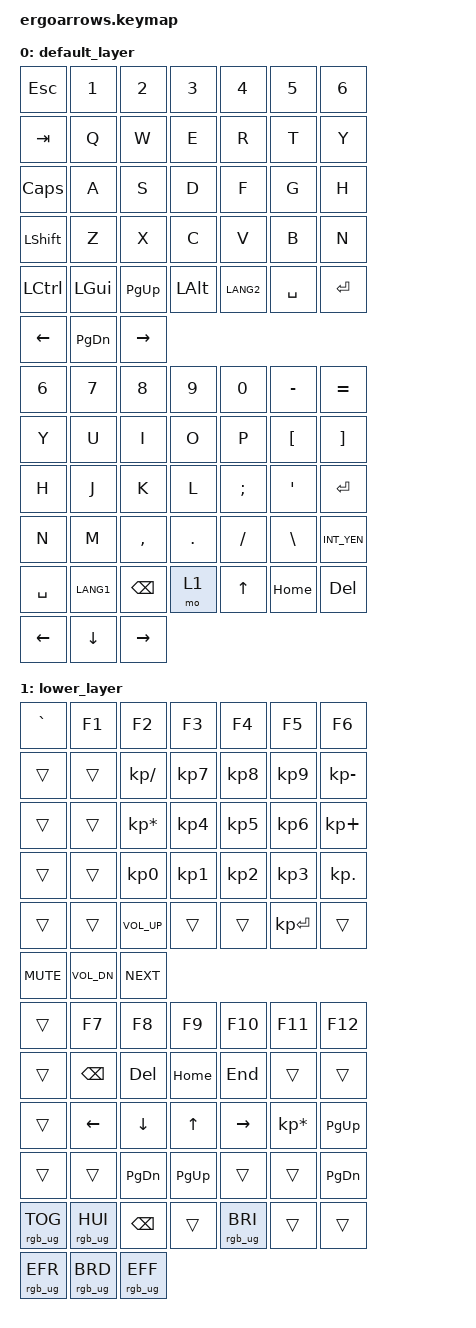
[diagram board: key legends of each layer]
/*
 * ErgoArrows Keymap
 * 76 keys (38 per side)
 * Left:  rows 0-5,  cols 0-6  (row 5: only col 1,2,3 = arrow keys)
 * Right: rows 6-11, cols 0-6  (row 11: only col 1,2,3 = arrow keys)
 */
#include <behaviors.dtsi>
#include <dt-bindings/zmk/keys.h>
#include <dt-bindings/zmk/bt.h>
#include <dt-bindings/zmk/rgb.h>
/ {
    keymap {
        compatible = "zmk,keymap";
        default_layer {
            bindings = <
/* Left hand */
/* Row 0 */  &kp ESC    &kp N1    &kp N2    &kp N3    &kp N4    &kp N5    &kp N6
/* Row 1 */  &kp TAB    &kp Q     &kp W     &kp E     &kp R     &kp T     &kp Y
/* Row 2 */  &kp CAPS   &kp A     &kp S     &kp D     &kp F     &kp G     &kp H
/* Row 3 */  &kp LSHFT  &kp Z     &kp X     &kp C     &kp V     &kp B     &kp N
/* Row 4 */  &kp LCTRL  &kp LGUI  &kp PG_UP &kp LALT  &kp LANG2 &kp SPACE &kp RET
/* Row 5 */  &kp LEFT   &kp PG_DN &kp RIGHT
/* Right hand */
/* Row 6  */ &kp N6     &kp N7    &kp N8    &kp N9    &kp N0    &kp MINUS  &kp EQUAL
/* Row 7  */ &kp Y      &kp U     &kp I     &kp O     &kp P     &kp LBKT   &kp RBKT
/* Row 8  */ &kp H      &kp J     &kp K     &kp L     &kp SEMI  &kp SQT    &kp RET
/* Row 9  */ &kp N      &kp M     &kp COMMA &kp DOT   &kp FSLH  &kp BSLH   &kp INT_YEN
/* Row 10 */ &kp SPACE  &kp LANG1 &kp BSPC  &mo 1     &kp UP    &kp HOME   &kp DEL
/* Row 11 */ &kp LEFT   &kp DOWN  &kp RIGHT
            >;
        };
        lower_layer {
            bindings = <
/* Left hand */
/* Row 0 */  &kp GRAVE  &kp F1         &kp F2          &kp F3     &kp F4     &kp F5        &kp F6
/* Row 1 */  &trans     &trans         &kp KP_SLASH    &kp KP_N7  &kp KP_N8  &kp KP_N9     &kp KP_MINUS
/* Row 2 */  &trans     &trans         &kp KP_MULTIPLY &kp KP_N4  &kp KP_N5  &kp KP_N6     &kp KP_PLUS
/* Row 3 */  &trans     &trans         &kp KP_N0       &kp KP_N1  &kp KP_N2  &kp KP_N3     &kp KP_DOT
/* Row 4 */  &trans     &trans         &kp C_VOL_UP    &trans     &trans     &kp KP_ENTER  &trans
/* Row 5 */  &kp C_MUTE &kp C_VOL_DN  &kp C_NEXT
/* Right hand */
/* Row 6  */ &trans          &kp F7    &kp F8    &kp F9    &kp F10   &kp F11         &kp F12
/* Row 7  */ &trans          &kp BSPC  &kp DEL   &kp HOME  &kp END   &trans          &trans
/* Row 8  */ &trans          &kp LEFT  &kp DOWN  &kp UP    &kp RIGHT &kp KP_MULTIPLY &kp PG_UP
/* Row 9  */ &trans          &trans    &kp PG_DN &kp PG_UP &trans    &trans          &kp PG_DN
/* Row 10 */ &rgb_ug RGB_TOG &rgb_ug RGB_HUI &kp BSPC &trans &rgb_ug RGB_BRI &trans &trans
/* Row 11 */ &rgb_ug RGB_EFR &rgb_ug RGB_BRD &rgb_ug RGB_EFF
            >;
        };
    };
};
